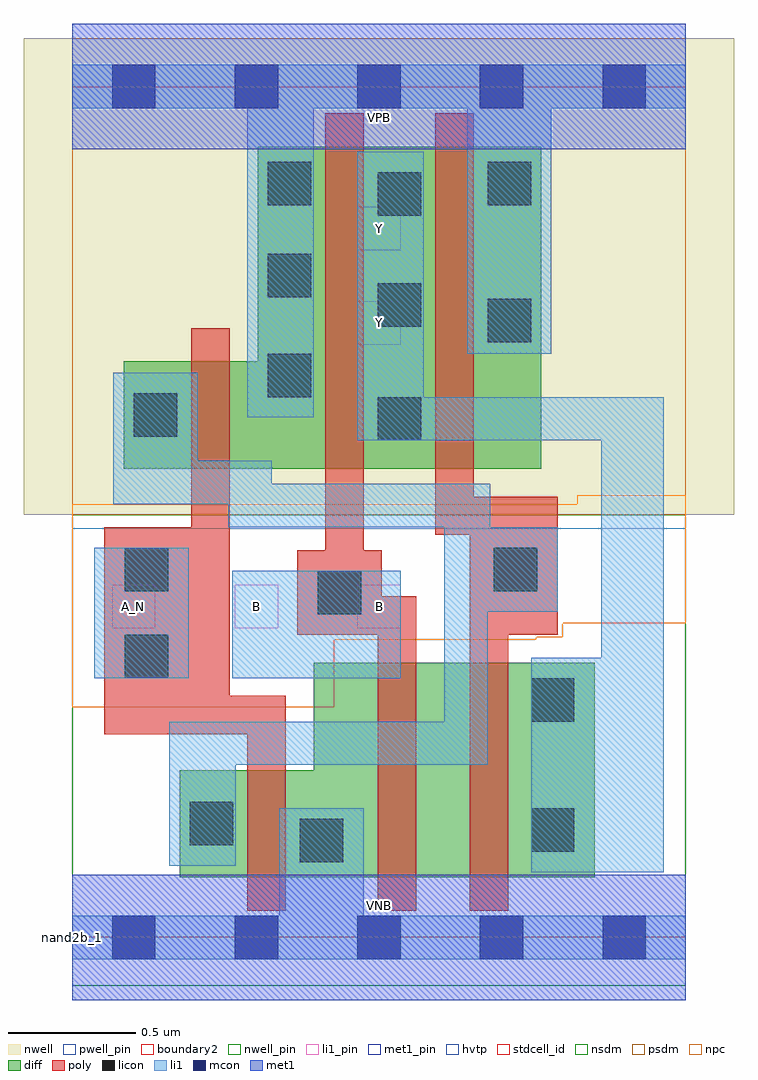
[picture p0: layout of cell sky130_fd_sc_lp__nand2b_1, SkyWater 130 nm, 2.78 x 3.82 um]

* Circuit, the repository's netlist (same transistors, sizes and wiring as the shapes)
* Copyright 2020 The SkyWater PDK Authors
*
* Licensed under the Apache License, Version 2.0 (the "License");
* you may not use this file except in compliance with the License.
* You may obtain a copy of the License at
*
*     https://www.apache.org/licenses/LICENSE-2.0
*
* Unless required by applicable law or agreed to in writing, software
* distributed under the License is distributed on an "AS IS" BASIS,
* WITHOUT WARRANTIES OR CONDITIONS OF ANY KIND, either express or implied.
* See the License for the specific language governing permissions and
* limitations under the License.
*
* SPDX-License-Identifier: Apache-2.0

.SUBCKT sky130_fd_sc_lp__nand2b_1 A_N B VGND VNB VPB VPWR Y
*.PININFO A_N:I B:I VGND:I VNB:I VPB:I VPWR:I Y:O
MMP0 Y A VPWR VPB sky130_fd_pr__pfet_01v8_hvt m=1 w=1.26U l=0.15U mult=1 sa=0.265
+ sb=0.265 sd=0.28 area=0.063 perim=1.14
MMP1 Y B VPWR VPB sky130_fd_pr__pfet_01v8_hvt m=1 w=1.26U l=0.15U mult=1 sa=0.265
+ sb=0.265 sd=0.28 area=0.063 perim=1.14
MMIP0 A A_N VPWR VPB sky130_fd_pr__pfet_01v8_hvt m=1 w=0.42U l=0.15U mult=1 sa=0.265
+ sb=0.265 sd=0.28 area=0.063 perim=1.14
MMN0 Y A sndA VNB sky130_fd_pr__nfet_01v8 m=1 w=0.84U l=0.15U mult=1 sa=0.265 sb=0.265
+ sd=0.28 area=0.063 perim=1.14
MMN1 sndA B VGND VNB sky130_fd_pr__nfet_01v8 m=1 w=0.84U l=0.15U mult=1 sa=0.265
+ sb=0.265 sd=0.28 area=0.063 perim=1.14
MMIN0 A A_N VGND VNB sky130_fd_pr__nfet_01v8 m=1 w=0.42U l=0.15U mult=1 sa=0.265
+ sb=0.265 sd=0.28 area=0.063 perim=1.14
.ENDS sky130_fd_sc_lp__nand2b_1

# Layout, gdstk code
import gdstk
lib = gdstk.Library(unit=1e-6, precision=1e-09)
def R(c, l, rs):  # rectangles x0, y0, x1, y1
    for r in rs: c.add(gdstk.rectangle(r[:2], r[2:], *l))
def A(c, l, x, y, w, h, nx, ny, dx, dy):  # array of equal rectangles
    R(c, l, [(x+i*dx, y+j*dy, x+i*dx+w, y+j*dy+h) for i in range(nx) for j in range(ny)])
def P(c, l, *ps):  # polygons
    for p in ps: c.add(gdstk.Polygon(p, *l))
nwell_pin = (64, 16)
nwell = (64, 20)
diff = (65, 20)
poly = (66, 20)
licon = (66, 44)
li1_pin = (67, 16)
li1 = (67, 20)
mcon = (67, 44)
met1_pin = (68, 16)
met1 = (68, 20)
hvtp = (78, 44)
stdcell_id = (81, 4)
nsdm = (93, 44)
psdm = (94, 20)
npc = (95, 20)
pwell_pin = (122, 16)
boundary2 = (236, 0)

sky130_fd_sc_lp__nand2b_ = lib.new_cell('sky130_fd_sc_lp__nand2b_1')
R(sky130_fd_sc_lp__nand2b_, nwell_pin, [(0,3.085,2.4,3.33)])
R(sky130_fd_sc_lp__nand2b_, nwell, [(-0.19,1.655,2.59,3.52)])
P(sky130_fd_sc_lp__nand2b_, diff, [(1.835,3.095),(0.725,3.095),(0.725,2.255),(0.2,2.255),(0.2,1.835),(1.835,1.835)],
  [(2.045,1.075),(0.945,1.075),(0.945,0.655),(0.42,0.655),(0.42,0.235),(2.045,0.235)])
P(sky130_fd_sc_lp__nand2b_, poly, [(0.835,0.945),(0.615,0.945),(0.615,2.385),(0.465,2.385),(0.465,1.605),(0.125,1.605),(0.125,0.795),(0.685,0.795),(0.685,0.105),(0.835,0.105)],
  [(1.345,1.335),(1.21,1.335),(1.21,1.515),(1.14,1.515),(1.14,3.225),(0.99,3.225),(0.99,1.515),(0.88,1.515),(0.88,1.185),(1.195,1.185),(1.195,0.105),(1.345,0.105)],
  [(1.9,1.725),(1.57,1.725),(1.57,3.225),(1.42,3.225),(1.42,1.575),(1.555,1.575),(1.555,0.105),(1.705,0.105),(1.705,1.185),(1.9,1.185)])
R(sky130_fd_sc_lp__nand2b_, licon, [(0.89,0.295,1.06,0.465), (1.795,0.335,1.965,0.505), (0.46,0.36,0.63,0.53), (1.795,0.845,1.965,1.015), (0.205,1.015,0.375,1.185), (0.96,1.265,1.13,1.435), (0.205,1.355,0.375,1.525), (1.65,1.355,1.82,1.525), (1.195,1.945,1.365,2.115), (0.24,1.96,0.41,2.13), (0.765,2.115,0.935,2.285), (1.625,2.33,1.795,2.5), (1.195,2.39,1.365,2.56), (0.765,2.505,0.935,2.675), (1.195,2.825,1.365,2.995), (0.765,2.865,0.935,3.035), (1.625,2.865,1.795,3.035)])
A(sky130_fd_sc_lp__nand2b_, li1_pin, 0.155, 1.21, 0.17, 0.17, 3, 1, 0.48, 0)
R(sky130_fd_sc_lp__nand2b_, li1_pin, [(1.115,2.32,1.285,2.49), (1.115,2.69,1.285,2.86)])
R(sky130_fd_sc_lp__nand2b_, li1, [(0.085,1.015,0.455,1.525), (0.625,1.015,1.285,1.435)])
P(sky130_fd_sc_lp__nand2b_, li1, [(1.545,2.285),(1.545,3.245),(0.945,3.245),(0.945,2.035),(0.685,2.035),(0.685,3.245),(0,3.245),(0,3.415),(2.4,3.415),(2.4,3.245),(1.875,3.245),(1.875,2.285)],
  [(0.81,0.085),(0.81,0.505),(1.14,0.505),(1.14,0.085),(2.4,0.085),(2.4,-0.085),(0,-0.085),(0,0.085)],
  [(1.115,1.945),(1.115,3.075),(1.375,3.075),(1.375,2.115),(2.315,2.115),(2.315,0.255),(1.795,0.255),(1.795,1.095),(2.07,1.095),(2.07,1.945)],
  [(1.9,1.605),(1.635,1.605),(1.635,1.775),(0.78,1.775),(0.78,1.865),(0.49,1.865),(0.49,2.21),(0.16,2.21),(0.16,1.695),(0.61,1.695),(0.61,1.605),(1.455,1.605),(1.455,0.845),(0.38,0.845),(0.38,0.28),(0.64,0.28),(0.64,0.675),(1.625,0.675),(1.625,1.275),(1.9,1.275)])
A(sky130_fd_sc_lp__nand2b_, mcon, 0.155, -0.085, 0.17, 0.17, 5, 2, 0.48, 3.33)
R(sky130_fd_sc_lp__nand2b_, met1_pin, [(0,0,2.4,0.245), (0,3.085,2.4,3.33)])
R(sky130_fd_sc_lp__nand2b_, met1, [(0,-0.245,2.4,0.245), (0,3.085,2.4,3.575)])
R(sky130_fd_sc_lp__nand2b_, hvtp, [(0,1.6,2.4,3.33)])
R(sky130_fd_sc_lp__nand2b_, stdcell_id, [(0,0,2.4,3.33)])
R(sky130_fd_sc_lp__nand2b_, nsdm, [(0,-0.19,2.4,1.655)])
R(sky130_fd_sc_lp__nand2b_, psdm, [(0,1.655,2.4,3.52)])
P(sky130_fd_sc_lp__nand2b_, npc, [(2.4,1.73),(1.975,1.73),(1.975,1.695),(0,1.695),(0,0.9),(1.025,0.9),(1.025,1.165),(1.815,1.165),(1.815,1.175),(1.92,1.175),(1.92,1.23),(2.4,1.23)])
R(sky130_fd_sc_lp__nand2b_, pwell_pin, [(0,0,2.4,0.245)])
R(sky130_fd_sc_lp__nand2b_, boundary2, [(0,0,2.4,3.33)])
sky130_fd_sc_lp__nand2b_.add(gdstk.Label('VNB', (1.2,0.123), layer=64, texttype=59))
sky130_fd_sc_lp__nand2b_.add(gdstk.Label('VPB', (1.2,3.208), layer=64, texttype=5))
sky130_fd_sc_lp__nand2b_.add(gdstk.Label('nand2b_1', (0,0), layer=83, texttype=44))
sky130_fd_sc_lp__nand2b_.add(gdstk.Label('VPWR', (1.2,3.208), layer=68, texttype=5))
sky130_fd_sc_lp__nand2b_.add(gdstk.Label('VGND', (1.2,0.123), layer=68, texttype=5))
sky130_fd_sc_lp__nand2b_.add(gdstk.Label('Y', (1.2,2.405), layer=67, texttype=5))
sky130_fd_sc_lp__nand2b_.add(gdstk.Label('Y', (1.2,2.775), layer=67, texttype=5))
sky130_fd_sc_lp__nand2b_.add(gdstk.Label('B', (0.72,1.295), layer=67, texttype=5))
sky130_fd_sc_lp__nand2b_.add(gdstk.Label('B', (1.2,1.295), layer=67, texttype=5))
sky130_fd_sc_lp__nand2b_.add(gdstk.Label('A_N', (0.24,1.295), layer=67, texttype=5))

lib.write_gds('sky130_fd_sc_lp__nand2b_1.gds')
